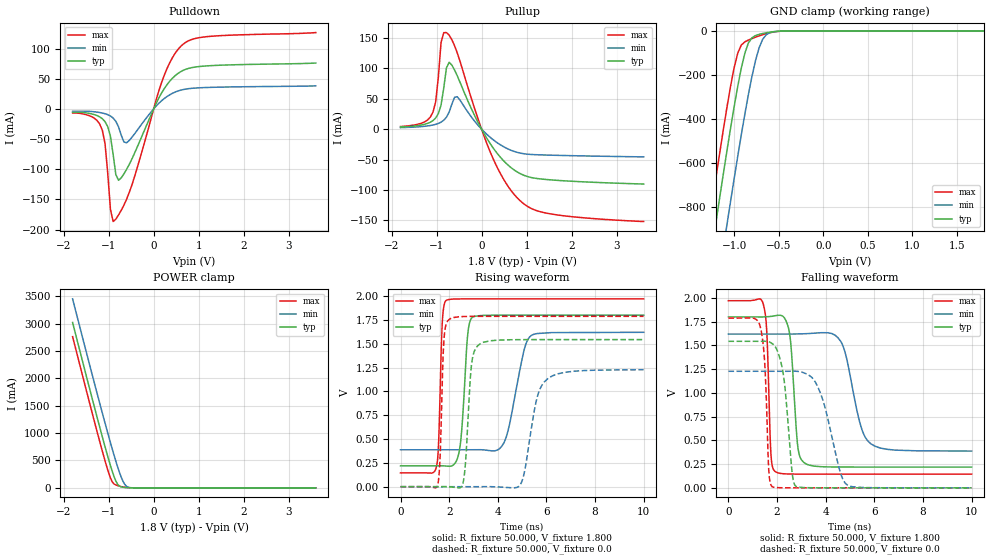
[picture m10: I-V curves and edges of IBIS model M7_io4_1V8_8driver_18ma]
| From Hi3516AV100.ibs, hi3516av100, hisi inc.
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|   Model M7_io4_1V8_8driver_18ma
[Model] M7_io4_1V8_8driver_18ma
Model_type I/O
Enable   Active-Low
C_comp   3.860pF   3.317pF   4.293pF
C_comp_pullup   2.042pF   1.773pF   2.231pF
C_comp_pulldown   1.604pF   1.423pF   1.754pF
[Temperature Range]   25.000   0.125k   -40.000
[Voltage Range]   1.800V   1.620V   1.970V
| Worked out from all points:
|   slope of the pulldown table from 0 to 0.27 V, typ, clamps not added: 7.24 ohm
|   slope of the pullup table from 0 to 0.27 V, typ, clamps not added: 8.39 ohm
|   GND clamp passes 1 mA (typ) near -0.46 V on its own axis
|   POWER clamp passes 1 mA (typ) near -0.52 V on its own axis
|   rising waveform, R_fixture 50.000, V_fixture 1.800: 20-80 % time 230ps typ, 563ps min, 122ps max; typ from 0.219 V to 1.8 V
|   rising waveform, R_fixture 50.000, V_fixture 0.0: 20-80 % time 214ps typ, 510ps min, 128ps max; typ from 0 V to 1.54 V
|   falling waveform, R_fixture 50.000, V_fixture 1.800: 20-80 % time 238ps typ, 615ps min, 136ps max; typ from 1.8 V to 0.219 V
|   falling waveform, R_fixture 50.000, V_fixture 0.0: 20-80 % time 334ps typ, 710ps min, 170ps max; typ from 1.54 V to 0 V
[Pulldown]
|Voltage   I(typ)   I(min)   I(max)
-1.8V     -5.72mA    -3.989mA   -6.874mA
-1.32V    -9.425mA   -4.782mA   -15.32mA
-1.14V    -16.25mA   -6.867mA   -35.34mA
-1.08V    -21.09mA   -8.003mA   -57.42mA
-960mV    -45.21mA   -11.77mA   -166.1mA
-900mV    -75.37mA   -15.13mA   -186.6mA
-840mV    -108.8mA   -20.58mA   -182.6mA
-720mV    -114.2mA   -43.57mA   -168mA
-600mV    -100mA     -56.09mA   -149.4mA
180mV     26.86mA    13.76mA    44.5mA
600mV     61.63mA    31.02mA    103.5mA
3.6V      75.9mA     38.08mA    126.4mA
[Pullup]
|Voltage   I(typ)   I(min)   I(max)
-1.8V     3.513mA    2.513mA    4.353mA
-1.32V    7.121mA    4.374mA    10.2mA
-1.08V    14.07mA    6.846mA    27.83mA
-1.02V    18.3mA     7.942mA    44.86mA
-900mV    39.67mA    11.53mA    142.6mA
-780mV    100.8mA    19.7mA     158.9mA
-720mV    110mA      28.13mA    154.7mA
-540mV    87.85mA    53.3mA     125.5mA
180mV     -22.49mA   -12.68mA   -35.33mA
840mV     -72.44mA   -39.05mA   -116.6mA
1.5V      -83.2mA    -42.72mA   -139mA
3.6V      -90.27mA   -45.61mA   -152mA
[GND_clamp]
|Voltage   I(typ)   I(min)   I(max)
-1.8V     -2.536A    -2.859A    -2.342A
-1.28V    -1.078A    -1.418A    -874.3mA
-1.2V     -860.6mA   -1.2A      -657.1mA
-1.08V    -544.2mA   -880.2mA   -347mA
-1V       -345.8mA   -673mA     -168.1mA
-960mV    -254mA     -572.3mA   -102.3mA
-880mV    -102.3mA   -379.7mA   -50.17mA
-800mV    -31.66mA   -207.5mA   -35.12mA
-720mV    -16.02mA   -77.6mA    -22.87mA
-680mV    -12.07mA   -38.75mA   -17.53mA
-600mV    -6.176mA   -8.568mA   -8.833mA
1.8V      0A         0A         0A
[POWER_clamp]
|Voltage   I(typ)   I(min)   I(max)
-1.8V     3.023A     3.455A     2.765A
-1.2V     1.116A     1.553A     853.2mA
-1.04V    634.5mA    1.064A     382.2mA
-960mV    408.5mA    827mA      182.2mA
-920mV    303.2mA    711.2mA    110.1mA
-880mV    206.7mA    598mA      70.15mA
-800mV    65.13mA    382.9mA    41mA
-760mV    31.99mA    284mA      30.98mA
-680mV    10.64mA    118.3mA    16.27mA
-600mV    3.914mA    26.47mA    6.952mA
-400mV    59.27uA    154.9uA    71.6uA
3.6V      -21.96uA   -120nA     -42.48uA
[Ramp]
| variable   typ   min   max
dV/dt_r   0.926/0.218n   0.736/0.514n   1.073/0.132n
dV/dt_f   0.949/0.239n   0.739/0.614n   1.096/0.141n
R_load = 50.000
[Rising Waveform]
R_fixture= 50.000
V_fixture= 1.800
V_fixture_min= 1.620
V_fixture_max= 1.980
|time   V(typ)   V(min)   V(max)
0s        219mV      387.5mV    144.6mV
1.469ns   219mV      387.5mV    201.9mV
1.564ns   219mV      387.5mV    450.2mV
1.714ns   219.2mV    387.5mV    1.709V
1.882ns   216.4mV    387.5mV    1.956V
2.429ns   393.1mV    387.5mV    1.97V
2.948ns   1.776V     387.6mV    1.971V
4.241ns   1.8V       455.3mV    1.971V
5.381ns   1.8V       1.588V     1.971V
10ns      1.8V       1.62V      1.971V
[Rising Waveform]
R_fixture= 50.000
V_fixture= 0.0
V_fixture_min= 0.0
V_fixture_max= 0.0
|time   V(typ)   V(min)   V(max)
0s        109.2uV    0V         133uV
1.523ns   82.21uV    0V         11.72mV
1.791ns   648.1uV    0V         1.555V
2.011ns   -562.2uV   0V         1.757V
2.589ns   61.73mV    1.65uV     1.786V
2.918ns   1.276V     -19.8uV    1.787V
3.218ns   1.489V     -5.039uV   1.788V
4.921ns   1.543V     18.97mV    1.788V
6.071ns   1.543V     1.137V     1.788V
10ns      1.543V     1.227V     1.788V
[Falling Waveform]
R_fixture= 50.000
V_fixture= 1.800
V_fixture_min= 1.620
V_fixture_max= 1.980
|time   V(typ)   V(min)   V(max)
0s        1.8V       1.62V      1.971V
1.432ns   1.8V       1.62V      1.935V
1.579ns   1.802V     1.62V      1.628V
1.752ns   1.806V     1.62V      340.7mV
1.923ns   1.813V     1.62V      172.1mV
2.505ns   1.641V     1.62V      145.7mV
3.103ns   266.9mV    1.623V     144.7mV
4.612ns   219.3mV    1.545V     144.6mV
5.862ns   219mV      463.1mV    144.6mV
10ns      219mV      387.6mV    144.6mV
[Falling Waveform]
R_fixture= 50.000
V_fixture= 0.0
V_fixture_min= 0.0
V_fixture_max= 0.0
|time   V(typ)   V(min)   V(max)
0s        1.543V     1.228V     1.788V
1.323ns   1.543V     1.228V     1.683V
1.501ns   1.544V     1.228V     1.273V
1.659ns   1.538V     1.228V     183.5mV
1.791ns   1.52V      1.228V     13.39mV
2.244ns   1.218V     1.228V     745.1uV
2.763ns   18.74mV    1.228V     171.2uV
3.681ns   442uV      1.06V      134uV
4.882ns   117uV      31.13mV    133.1uV
10ns      109.2uV    1.189uV    133.1uV
